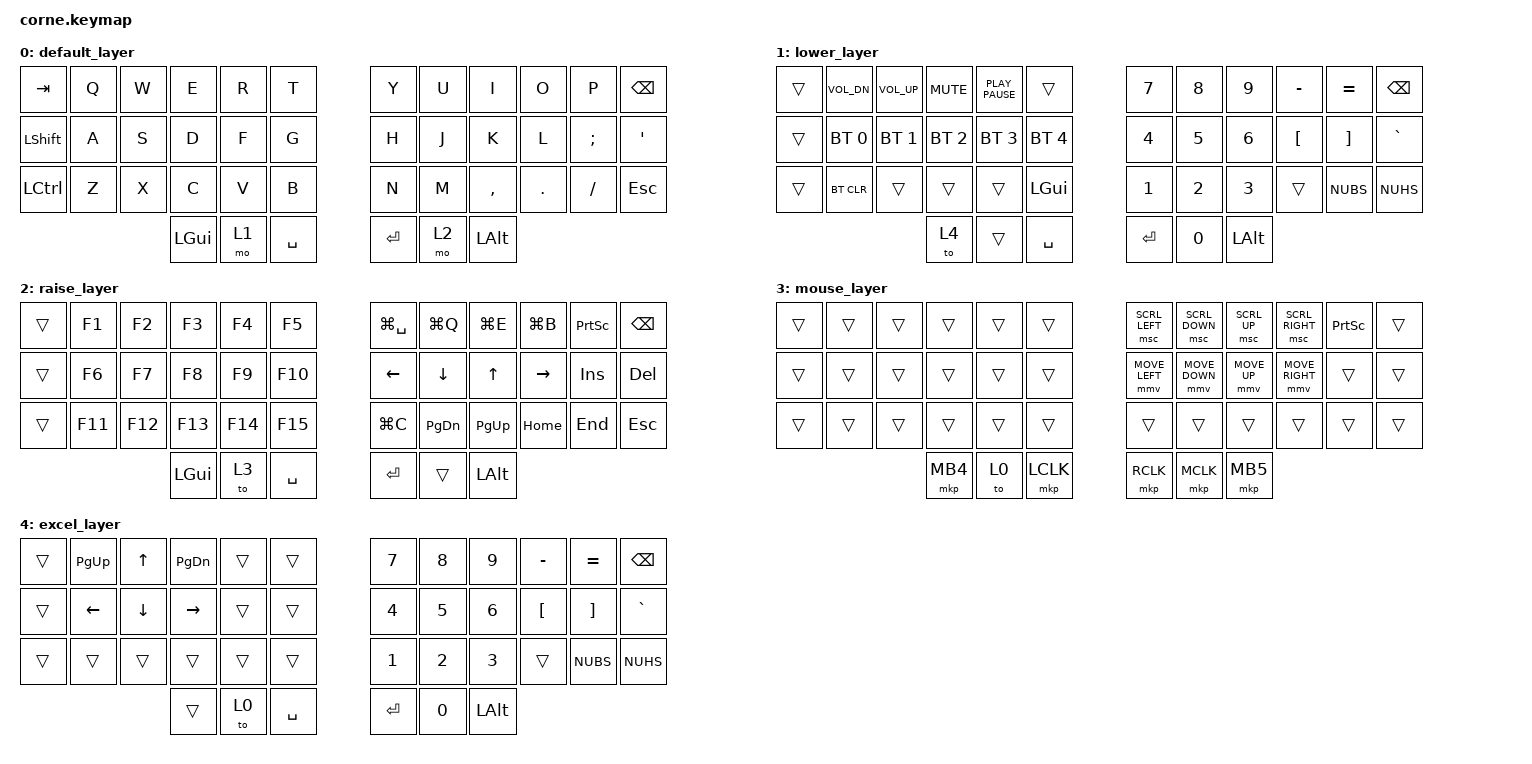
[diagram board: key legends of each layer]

 /*
 * Copyright (c) 2020 The ZMK Contributors
 *
 * SPDX-License-Identifier: MIT
 */

#include <behaviors.dtsi>
#include <dt-bindings/zmk/keys.h>
#include <dt-bindings/zmk/bt.h>
#include <dt-bindings/zmk/pointing.h>

#define ZMK_POINTING_DEFAULT_MOVE_VAL 600  // default: 600
// #define ZMK_POINTING_DEFAULT_SCRL_VAL 20

/ {
        keymap {
                compatible = "zmk,keymap";

                default_layer {
// -----------------------------------------------------------------------------------------
// |  TAB |  Q  |  W  |  E  |  R  |  T  |   |  Y  |  U   |  I  |  O  |  P  | BSPC |
// | CTRL |  A  |  S  |  D  |  F  |  G  |   |  H  |  J   |  K  |  L  |  ;  |  '   |
// | SHFT |  Z  |  X  |  C  |  V  |  B  |   |  N  |  M   |  ,  |  .  |  /  | ESC  |
//                    | GUI | LWR | SPC |   | ENT | RSE  | ALT |
                        bindings = <
   &kp TAB   &kp Q &kp W &kp E		&kp R &kp T			  &kp Y		&kp U &kp I     &kp O   &kp P    &kp BSPC
   &kp LSHFT &kp A &kp S &kp D		&kp F &kp G				&kp H		&kp J &kp K     &kp L   &kp SEMI &kp SQT
   &kp LCTRL &kp Z &kp X &kp C		&kp V &kp B				&kp N		&kp M &kp COMMA &kp DOT &kp FSLH &kp ESC
												 &kp LGUI &mo 1 &kp SPACE   &kp RET &mo 2 &kp LALT
                        >;
                };
                lower_layer {
// -----------------------------------------------------------------------------------------
// |  TAB |  VD  |  VU  |  MU  |  PL  |  5	|   |		7		|		8		|		9		|		-		|  =  | BSPC |
// | BTCLR| BT1 | BT2 | BT3 | BT4 | BT5 |				|		6		|		5		|		4		|		[		|  ]   | `  |
// | SHFT |  F5 | F12 |     |     |     |				|		1		|		2		|		3	 |		0		|  \  |  #  |
//                    | GUI |     | SPC |				|	ENT |		0		 | ALT |
                        bindings = <
   &trans	  &kp K_VOL_DN  &kp K_VOL_UP  &kp K_MUTE		&kp K_PLAY_PAUSE		&trans					&kp N7	&kp N8	&kp N9	&kp MINUS		&kp EQUAL	&kp BSPC
   &trans		&bt BT_SEL 0	&bt BT_SEL 1	&bt BT_SEL 2	&bt BT_SEL 3				&bt BT_SEL 4    &kp N4	&kp N5	&kp N6	&kp LBKT		&kp RBKT	&kp GRAVE
   &trans		&bt BT_CLR		&trans				&trans				&trans							&kp LGUI				&kp N1	&kp N2	&kp N3	&trans			&kp NUBS	&kp NUHS
																				&to 4					&trans							&kp SPACE				&kp RET &kp N0  &kp LALT
                        >;
                };

                raise_layer {
// -----------------------------------------------------------------------------------------
// |  TAB |  !      |  "  |  £  |  $  |  %  |   |  ^  |  &  |  *  |  (  |  )  | BSPC |
// | CTRL | VOL UP | PLAY |     |     |     |   |  -  |  =  |  [  |  ]  |  \  |  `/@   |
// | SHFT | VOL DN |     |     |     |     |   |  _  |  +  |  {  |  }  | "|" |  ~/#   |
//                    | GUI |     | SPC |   | ENT |     | ALT |
                        bindings = <
   &trans		&kp F1		&kp F2		&kp F3		&kp F4		&kp F5		&kp LG(SPACE) &kp LG(Q)		&kp LG(E)	&kp LG(B) &kp PSCRN &kp BSPC
   &trans		&kp F6		&kp F7		&kp F8		&kp F9		&kp F10		&kp LEFT			&kp DOWN		&kp UP		&kp RIGHT &kp INS		&kp DEL
   &trans		&kp F11		&kp F12		&kp F13		&kp F14		&kp F15		&kp LG(C)			&kp PG_DN		&kp PG_UP	&kp HOME	&kp END		&kp ESC
																&kp LGUI	&to 3			&kp SPACE	&kp RET				&trans			&kp LALT
                        >;
                };

								mouse_layer {
// -----------------------------------------------------------------------------------------
// |  TAB |  !      |  "  |  £  |  $  |  %  |   |  ^  |  &  |  *  |  (  |  )  | BSPC |
// | CTRL | VOL UP | PLAY |     |     |     |   |  -  |  =  |  [  |  ]  |  \  |  `/@   |
// | SHFT | VOL DN |     |     |     |     |   |  _  |  +  |  {  |  }  | "|" |  ~/#   |
//                    | GUI |     | SPC |   | ENT |     | ALT |
                        bindings = < 
	 &trans			&trans	 &trans  &trans			&trans  &trans			&msc SCRL_LEFT		&msc SCRL_DOWN	&msc SCRL_UP		&msc SCRL_RIGHT	&kp PSCRN		&trans
	 &trans			&trans	 &trans  &trans			&trans  &trans			&mmv MOVE_LEFT		&mmv MOVE_DOWN	&mmv MOVE_UP		&mmv MOVE_RIGHT	&trans		  &trans
	 &trans			&trans	 &trans  &trans			&trans  &trans			&trans						&trans					&trans					&trans					&trans			&trans
															 &mkp MB4		&to 0		&mkp LCLK		&mkp RCLK					&mkp MCLK				&mkp MB5		
                        >;
                };

								excel_layer {
// -----------------------------------------------------------------------------------------
// |  TAB |  VD  |  VU  |  MU  |  PL  |  5	|   |		7		|		8		|		9		|		-		|  =  | BSPC |
// | BTCLR| BT1 | BT2 | BT3 | BT4 | BT5 |				|		6		|		5		|		4		|		[		|  ]   | `  |
// | SHFT |  F5 | F12 |     |     |     |				|		1		|		2		|		3	 |		0		|  \  |  #  |
//                    | GUI |     | SPC |				|	ENT |		0		 | ALT |
                        bindings = <
   &trans	  &kp PG_UP	&kp UP		&kp PG_DN	&trans	&trans			&kp N7	&kp N8	&kp N9	&kp MINUS		&kp EQUAL	&kp BSPC
   &trans		&kp LEFT	&kp DOWN	&kp RIGHT	&trans	&trans			&kp N4	&kp N5	&kp N6	&kp LBKT		&kp RBKT	&kp GRAVE
   &trans		&trans		&trans		&trans		&trans	&trans			&kp N1	&kp N2	&kp N3	&trans			&kp NUBS	&kp NUHS
																&trans		&to 0		&kp SPACE		&kp RET &kp N0  &kp LALT
                        >;
                };
        };
};
